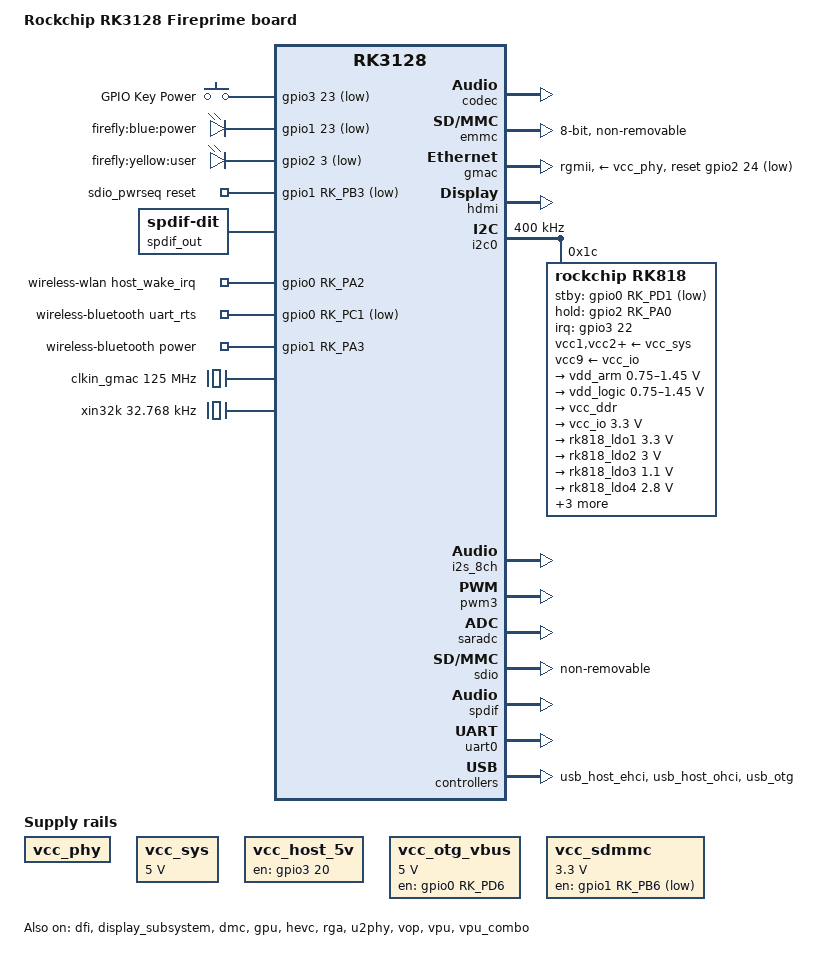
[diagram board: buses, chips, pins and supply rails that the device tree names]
/*
 * This file is dual-licensed: you can use it either under the terms
 * of the GPL or the X11 license, at your option. Note that this dual
 * licensing only applies to this file, and not this project as a
 * whole.
 *
 *  a) This file is free software; you can redistribute it and/or
 *     modify it under the terms of the GNU General Public License as
 *     published by the Free Software Foundation; either version 2 of the
 *     License, or (at your option) any later version.
 *
 *     This file is distributed in the hope that it will be useful,
 *     but WITHOUT ANY WARRANTY; without even the implied warranty of
 *     MERCHANTABILITY or FITNESS FOR A PARTICULAR PURPOSE.  See the
 *     GNU General Public License for more details.
 *
 *  Or, alternatively,
 *
 *  b) Permission is hereby granted, free of charge, to any person
 *     obtaining a copy of this software and associated documentation
 *     files (the "Software"), to deal in the Software without
 *     restriction, including without limitation the rights to use,
 *     copy, modify, merge, publish, distribute, sublicense, and/or
 *     sell copies of the Software, and to permit persons to whom the
 *     Software is furnished to do so, subject to the following
 *     conditions:
 *
 *     The above copyright notice and this permission notice shall be
 *     included in all copies or substantial portions of the Software.
 *
 *     THE SOFTWARE IS PROVIDED "AS IS", WITHOUT WARRANTY OF ANY KIND,
 *     EXPRESS OR IMPLIED, INCLUDING BUT NOT LIMITED TO THE WARRANTIES
 *     OF MERCHANTABILITY, FITNESS FOR A PARTICULAR PURPOSE AND
 *     NONINFRINGEMENT. IN NO EVENT SHALL THE AUTHORS OR COPYRIGHT
 *     HOLDERS BE LIABLE FOR ANY CLAIM, DAMAGES OR OTHER LIABILITY,
 *     WHETHER IN AN ACTION OF CONTRACT, TORT OR OTHERWISE, ARISING
 *     FROM, OUT OF OR IN CONNECTION WITH THE SOFTWARE OR THE USE OR
 *     OTHER DEALINGS IN THE SOFTWARE.
 */

/dts-v1/;
#include <dt-bindings/gpio/gpio.h>
#include <dt-bindings/input/rk-input.h>
#include <dt-bindings/pinctrl/rockchip.h>
#include <dt-bindings/pwm/pwm.h>
#include "rk3128.dtsi"

/ {
	model = "Rockchip RK3128 Fireprime board";
	compatible = "rockchip,rk3128";
	chosen {
		bootargs = "earlycon=uart8250,mmio32,0x20068000 earlyprintk console=ttyFIQ0 rw root=PARTUUID=614e0000-0000 rootwait";
	};

	cpuinfo {
		compatible = "rockchip,cpuinfo";
		nvmem-cells = <&efuse_id>;
		nvmem-cell-names = "id";
	};

	fiq-debugger {
		compatible = "rockchip,fiq-debugger";
		rockchip,serial-id = <2>;
		rockchip,signal-irq = <159>;
		rockchip,wake-irq = <0>;
		/* If enable uart uses irq instead of fiq */
		rockchip,irq-mode-enable = <1>;
		rockchip,baudrate = <115200>;  /* Only 115200 and 1500000 */
		interrupts = <GIC_SPI 127 IRQ_TYPE_LEVEL_LOW>;
		status = "okay";
	};

	gpio-keys{
		compatible = "gpio-keys";
		#address-cells = <1>;
		#size-cells = <0>;
		autorepeat;
		pinctrl-names = "default";
		pinctrl-0 = <&pwrbtn>;

		button@0 {
			gpios = <&gpio3 23 GPIO_ACTIVE_LOW>;
			linux,code = <116>;
			label = "GPIO Key Power";
			linux,input-type = <1>;
			gpio-key,wakeup = <1>;
			debounce-interval = <100>;
		};
	};

	leds{
		compatible = "gpio-leds";
		power{
			label = "firefly:blue:power";
			linux,default-trigger = "ir-power-click";
			gpios = <&gpio1 23 GPIO_ACTIVE_LOW>;
			pinctrl-names = "default";
			pinctrl-0 = <&led_power>;
			default-state = "on";
		};
		user {
			label = "firefly:yellow:user";
			linux,default-trigger = "ir-user-click";
			gpios = <&gpio2 3 GPIO_ACTIVE_LOW>;
			pinctrl-names = "default";
			pinctrl-0 = <&led_user>;
			default-state = "off";
		};
	};

	sdio_pwrseq: sdio-pwrseq{
		compatible = "mmc-pwrseq-simple";
		pinctrl-name = "default";
		pinctrl-0 = <&wifi_enable_h>;
		reset-gpios = <&gpio1 RK_PB3 GPIO_ACTIVE_LOW>;
	};

	sound: sound {
		compatible = "simple-audio-card";
		simple-audio-card,format = "i2s";
		simple-audio-card,name = "rockchip,rk312x-codec";
		simple-audio-card,mclk-fs = <256>;
		simple-audio-card,widgets =
			"Headphone", "Headphone Jack";
		simple-audio-card,routing =
			"Headphone Jack", "HPOL",
			"Headphone Jack", "HPOR";

		simple-audio-card,dai-link@0 {
			format = "i2s";
			cpu {
				sound-dai = <&i2s_8ch 0>;
			};

			codec {
				sound-dai = <&hdmi>;
			};
		};

		simple-audio-card,dai-link@1 {
			format = "i2s";
			cpu {
				sound-dai = <&i2s_8ch 1>;
			};

			codec {
				sound-dai = <&codec>;
			};
		};
	};

	spdif_out: spdif-out {
		status = "okay";
		compatible = "linux,spdif-dit";
		#sound-dai-cells = <0>;
	};

	spdif-sound {
		status = "okay";
		compatible = "simple-audio-card";
		simple-audio-card,name = "ROCKCHIP,SPDIF";
		simple-audio-card,cpu {
			sound-dai = <&spdif>;
		};
		simple-audio-card,codec {
			sound-dai = <&spdif_out>;
		};
	};

	wireless-wlan {
		compatible = "wlan-platdata";
		wifi_chip_type = "ap6212";
		clocks = <&rk818 1>;
		clock-names = "ext_clock";
		sdio_vref = <3300>;
		rockchip,grf = <&grf>;
		WIFI,host_wake_irq = <&gpio0 RK_PA2 GPIO_ACTIVE_HIGH>;
		status = "okay";
	};

	wireless-bluetooth {
		compatible = "bluetooth-platdata";
		uart_rts_gpios = <&gpio0 RK_PC1 GPIO_ACTIVE_LOW>;
		pinctrl-names = "default","rts_gpio";
		pinctrl-0 = <&uart0_rts>;
		pinctrl-1 = <&uart0_rts_gpio>;
		BT,power_gpio = <&gpio1 RK_PA3 GPIO_ACTIVE_HIGH>;
		status = "okay";
	};

	clkin_gmac: external-gmac-clock {
		compatible = "fixed-clock";
		clock-frequency = <125000000>;
		clock-output-names = "gmac_clkin";
		#clock-cells = <0>;
	};

	vcc_phy: vcc-phy-regulator {
		compatible = "regulator-fixed";
		enable-active-high;
		regulator-name = "vcc_phy";
		regulator-always-on;
		regulator-boot-on;
	};

	vcc_sys: vcc-sys {
		compatible = "regulator-fixed";
		regulator-name = "vcc_sys";
		regulator-always-on;
		regulator-boot-on;
		regulator-min-microvolt = <5000000>;
		regulator-max-microvolt = <5000000>;
	};

	vcc_host_5v: vcc-host-5v-regulator {
		compatible = "regulator-fixed";
		enable-active-high;
		gpio = <&gpio3 20 GPIO_ACTIVE_HIGH>;
		pinctrl-names = "default";
		pinctrl-0 = <&host_vbus_drv>;
		regulator-name = "vcc_host_5v";
		regulator-always-on;
	};

	vcc_otg_vbus: otg-vbus-regulator {
		compatible = "regulator-fixed";
		gpio = <&gpio0 RK_PD6 GPIO_ACTIVE_HIGH>;
		pinctrl-names = "default";
		pinctrl-0 = <&otg_vbus_drv>;
		regulator-name = "vcc_otg_vbus";
		regulator-min-microvolt = <5000000>;
		regulator-max-microvolt = <5000000>;
		enable-active-high;
	};

	vcc_sdmmc: vcc-sdmmc{
		compatible = "regulator-fixed";
		gpio = <&gpio1 RK_PB6 GPIO_ACTIVE_HIGH>;
		pinctrl-names = "default";
		pinctrl-0 = <&sdmmc_pwren>;
		regulator-name = "vcc_sdmmc";
		regulator-min-microvolt = <3300000>;
		regulator-max-microvolt = <3300000>;
	};
	xin32k: xin32k {
		compatible = "fixed-clock";
		clock-frequency = <32768>;
		clock-output-names = "xin32k";
		#clock-cells = <0>;
	};
};

&codec{
	spk-ctl-gpios = <&gpio3 RK_PC5 GPIO_ACTIVE_HIGH>;
	spk-mute-delay = <200>;
	hp-mute-delay = <100>;
	rk312x_for_mid = <0>;
	is_rk3128 = <0>;
	spk_volume = <25>;
	hp_volume = <25>;
	capture_volume = <26>;
	gpio_debug = <1>;
	codec_hp_det = <0>;
	#sound-dai-cells = <0>;
	status = "okay";
};

&cpu0 {
	cpu-supply = <&vdd_arm>;
};

&dfi {
	status = "okay";
};

&display_subsystem {
	status = "okay";
	route {
		route_lvds: route-lvds {
			status = "disabled";
		};
	};
};

&dmc {
	center-supply = <&vdd_logic>;
	status = "okay";
};

&emmc {
	bus-width = <8>;
	cap-mmc-highspeed;
	supports-emmc;
	disable-wp;
	non-removable;
	num-slots = <1>;
	pinctrl-names = "default";
	pinctrl-0 = <&emmc_clk &emmc_cmd &emmc_bus8>;
	status = "okay";
};

&gmac {
	assigned-clocks = <&cru SCLK_MAC>;
	assigned-clock-parents = <&clkin_gmac>;
	clock_in_out = "input";
	pinctrl-names = "default";
	pinctrl-0 = <&rgmii_pins>;
	phy-supply = <&vcc_phy>;
	phy-mode = "rgmii";
	snps,reset-active-low;
	snps,reset-delays-us = <0 10000 50000>;
	snps,reset-gpio = <&gpio2 24 GPIO_ACTIVE_LOW>;
	tx_delay = <0x1d>;
	rx_delay = <0x10>;
	status = "okay";
};

&gpu {
	status = "okay";
	mali-supply = <&vdd_logic>;
};

&hdmi {
	#sound-dai-cells = <0>;
	status = "okay";
};

&hevc {
	status = "okay";
};

&hevc_mmu {
	status = "okay";
};

&i2c0 {
	status = "okay";
	clock-frequency = <400000>;

	rk818: pmic@1c {
		compatible = "rockchip,rk818";
		status = "okay";
		reg = <0x1c>;
		clock-output-names = "rk818-clkout1", "wifibt_32kin";
		interrupt-parent = <&gpio3>;
		interrupts = <22 IRQ_TYPE_LEVEL_LOW>;
		pmic,stby-gpio = <&gpio0 RK_PD1 GPIO_ACTIVE_LOW>;
		pmic,hold-gpio = <&gpio2 RK_PA0 GPIO_ACTIVE_HIGH>;
		pinctrl-names = "default";
		pinctrl-0 = <&pmic_int_l &pmic_stby &pmic_hold>;
		rockchip,system-power-controller;
		wakeup-source;
		#clock-cells = <1>;

		vcc1-supply = <&vcc_sys>;
		vcc2-supply = <&vcc_sys>;
		vcc3-supply = <&vcc_sys>;
		vcc4-supply = <&vcc_sys>;
		vcc6-supply = <&vcc_sys>;
		vcc7-supply = <&vcc_sys>;
		vcc8-supply = <&vcc_sys>;
		vcc9-supply = <&vcc_io>;

		regulators {
			vdd_arm: DCDC_REG1 {
				regulator-name = "vdd_arm";
				regulator-always-on;
				regulator-boot-on;
				regulator-min-microvolt = <750000>;
				regulator-max-microvolt = <1450000>;
				regulator-ramp-delay = <6001>;
				regulator-state-mem {
					regulator-on-in-suspend;
					regulator-suspend-microvolt = <1100000>;
				};
			};

			vdd_logic: DCDC_REG2 {
				regulator-name = "vdd_logic";
				regulator-always-on;
				regulator-boot-on;
				regulator-min-microvolt = <750000>;
				regulator-max-microvolt = <1450000>;
				regulator-ramp-delay = <6001>;
				regulator-state-mem {
					regulator-on-in-suspend;
					regulator-suspend-microvolt = <1100000>;
				};
			};

			vcc_ddr: DCDC_REG3 {
				regulator-name = "vcc_ddr";
				regulator-always-on;
				regulator-boot-on;
			};

			vcc_io: DCDC_REG4 {
				regulator-name = "vcc_io";
				regulator-always-on;
				regulator-boot-on;
				regulator-min-microvolt = <3300000>;
				regulator-max-microvolt = <3300000>;
				regulator-state-mem {
					regulator-on-in-suspend;
					regulator-suspend-microvolt = <3300000>;
				};
			};

			rk818_ldo1: LDO_REG1 {
				regulator-name = "rk818_ldo1";
				regulator-always-on;
				regulator-boot-on;
				regulator-min-microvolt = <3300000>;
				regulator-max-microvolt = <3300000>;
				regulator-state-mem {
					regulator-on-in-suspend;
					regulator-suspend-microvolt = <3300000>;
				};
			};

			rk818_ldo2: LDO_REG2 {
				regulator-name = "rk818_ldo2";
				regulator-always-on;
				regulator-boot-on;
				regulator-min-microvolt = <3000000>;
				regulator-max-microvolt = <3000000>;
				regulator-state-mem {
					regulator-on-in-suspend;
					regulator-suspend-microvolt = <3000000>;
				};
			};

			rk818_ldo3: LDO_REG3 {
				regulator-name = "rk818_ldo3";
				regulator-always-on;
				regulator-boot-on;
				regulator-min-microvolt = <1100000>;
				regulator-max-microvolt = <1100000>;
				regulator-state-mem {
					regulator-on-in-suspend;
					regulator-suspend-microvolt = <1100000>;
				};
			};

			rk818_ldo4: LDO_REG4 {
				regulator-name = "rk818_ldo4";
				regulator-always-on;
				regulator-boot-on;
				regulator-min-microvolt = <2800000>;
				regulator-max-microvolt = <2800000>;
				regulator-state-mem {
					regulator-on-in-suspend;
					regulator-suspend-microvolt = <2800000>;
				};
			};

			rk818_ldo5: LDO_REG5 {
				regulator-name = "rk818_ldo5";
				regulator-always-on;
				regulator-boot-on;
				regulator-min-microvolt = <3000000>;
				regulator-max-microvolt = <3000000>;
				regulator-state-mem {
					regulator-on-in-suspend;
					regulator-suspend-microvolt = <3000000>;
				};
			};

			rk818_ldo6: LDO_REG6 {
				regulator-name = "rk818_ldo6";
				regulator-always-on;
				regulator-boot-on;
				regulator-min-microvolt = <1200000>;
				regulator-max-microvolt = <1200000>;
				regulator-state-mem {
					regulator-on-in-suspend;
					regulator-suspend-microvolt = <1200000>;
				};
			};

			rk818_ldo7: LDO_REG7 {
				regulator-name = "rk818_ldo7";
				regulator-always-on;
				regulator-boot-on;
				regulator-min-microvolt = <1800000>;
				regulator-max-microvolt = <1800000>;
				regulator-state-mem {
					regulator-on-in-suspend;
					regulator-suspend-microvolt = <1800000>;
				};
			};

			rk818_ldo8: LDO_REG8 {
				regulator-name = "rk818_ldo8";
				regulator-always-on;
				regulator-boot-on;
				regulator-min-microvolt = <1800000>;
				regulator-max-microvolt = <1800000>;
				regulator-state-mem {
					regulator-on-in-suspend;
					regulator-suspend-microvolt = <1800000>;
				};
			};

			vcc_sd: LDO_REG9 {
				regulator-name = "vcc_sd";
				regulator-always-on;
				regulator-boot-on;
				regulator-min-microvolt = <1800000>;
				regulator-max-microvolt = <3000000>;
				regulator-state-mem {
					regulator-on-in-suspend;
					regulator-suspend-microvolt = <3000000>;
				};
			};

			rk818_ldo10: SWITCH_REG {
				regulator-name = "rk818_ldo10";
				regulator-always-on;
				regulator-boot-on;
				regulator-state-mem {
					regulator-on-in-suspend;
				};
			};
		};
	};
};

&i2s_8ch{
	status = "okay";
	#sound-dai-cells = <0>;
};

&pinctrl {
	pmic {
		pmic_int_l: pmic-int-l {
			rockchip,pins = <RK_GPIO3 22 RK_FUNC_GPIO &pcfg_pull_default>;
		};

		pmic_stby: pmic-stby {
			rockchip,pins = <RK_GPIO0 25 RK_FUNC_GPIO &pcfg_pull_default>;
		};

		pmic_hold: pmic-hold {
			rockchip,pins = <RK_GPIO2 0 RK_FUNC_GPIO &pcfg_pull_default>;
		};
	};

	usb2 {
		host_vbus_drv: host-vbus-drv {
			rockchip,pins = <3 RK_PC4 RK_FUNC_GPIO &pcfg_pull_none>;
		};

		otg_vbus_drv: otg-vbus-drv {
			rockchip,pins = <0 RK_PD6 RK_FUNC_GPIO &pcfg_pull_none>;
		};
	};

	led{
		led_power: led-power {
			rockchip,pins = <1 23 RK_FUNC_GPIO &pcfg_pull_none>;
		};

		led_user: led-user {
			rockchip,pins = <2 3 RK_FUNC_GPIO &pcfg_pull_none>;
		};
	};

	buttons{
		pwrbtn: pwrbtn{
			rockchip,pins = <3 23 RK_FUNC_GPIO &pcfg_pull_none>;
		};
	};

	codec{
		spk_ctl: spk-ctl{
			rockchip,pins = <3 21 RK_FUNC_GPIO &pcfg_pull_none>;
		};
	};

	uart0{
		uart0_rts_gpio: uart0-rts-gpio{
			rockchip,pins = <0 RK_PC1 RK_FUNC_GPIO &pcfg_pull_none>;
		};
	};

	sdio-pwrseq{
		wifi_enable_h: wifi-enable-h{
			rockchip,pins = <1 RK_PB3 RK_FUNC_GPIO &pcfg_pull_up>;
		};
	};
};

&pwm3{
	interrupts = <GIC_SPI 30 IRQ_TYPE_LEVEL_HIGH>;
	compatible = "rockchip,remotectl-pwm";
	pinctrl-names = "default";
	remote_pwm_id = <3>;
	handle_cpu_id = <0>;
	remote_support_psci = <0>;
	status = "okay";
	ir_key1 {
		rockchip,usercode = <0xff00>;
		rockchip,key_table =
			<0xeb   KEY_POWER>,
			<0xec   KEY_COMPOSE>,
			<0xfe   KEY_BACK>,
			<0xb7   KEY_HOME>,
			<0xa3   KEY_WWW>,
			<0xf4   KEY_VOLUMEUP>,
			<0xa7   KEY_VOLUMEDOWN>,
			<0xf8   KEY_ENTER>,
			<0xfc   KEY_UP>,
			<0xfd   KEY_DOWN>,
			<0xf1   KEY_LEFT>,
			<0xe5   KEY_RIGHT>;
	};
};

&rga {
	status = "okay";
};

&saradc
{
	status = "okay";
};

&sdmmc {
	cap-mmc-highspeed;
	cap-sd-highspeed;
	supports-sd;
	vmmc-supply = <&vcc_sdmmc>;
	broken-cd;
	card-detect-delay = <800>;
	ignore-pm-notify;
	keep-power-in-suspend;
	cd-gpios = <&gpio1 RK_PC1 GPIO_ACTIVE_HIGH>; /* CD GPIO */
	status = "disabled";
};

&sdio {
	max-frequency = <50000000>;
	supports-sdio;
	disable-wp;
	cap-sd-highspeed;
	cap-sdio-irq;
	keep-power-in-suspend;
	pinctrl-names = "default";
	pinctrl-0 = <&sdio_cmd &sdio_clk &sdio_bus4>;
	mmc-pwrseq = <&sdio_pwrseq>;
	non-removable;
	sd-uhs-sdr104;
	status = "okay";
};

&spdif{
	compatible = "rockchip,rk3188-spdif";
	status = "okay";
	i2c-scl-rising-time-ns = <450>;
	i2c-scl-falling-time-ns = <15>;
	#sound-dai-cells = <0>;
};

&uart0{
	pinctrl-names = "default";
	pinctrl-0 = <&uart0_xfer &uart0_cts>;
	status = "okay";
};

&u2phy {
	status = "okay";

	u2phy_otg: otg-port {
		vbus-supply = <&vcc_otg_vbus>;
		status = "okay";
	};

	u2phy_host: host-port {
		phy-supply = <&vcc_host_5v>;
		status = "okay";
	};
};

&usb_host_ehci {
	status = "okay";
};

&usb_host_ohci {
	status = "okay";
};

&usb_otg {
	status = "okay";
};

&vop {
	status = "okay";
};

&vop_mmu {
	status = "okay";
};

&vpu {
	status = "okay";
};

&vpu_combo {
	status = "okay";
};

&vpu_mmu {
	status = "okay";
};
